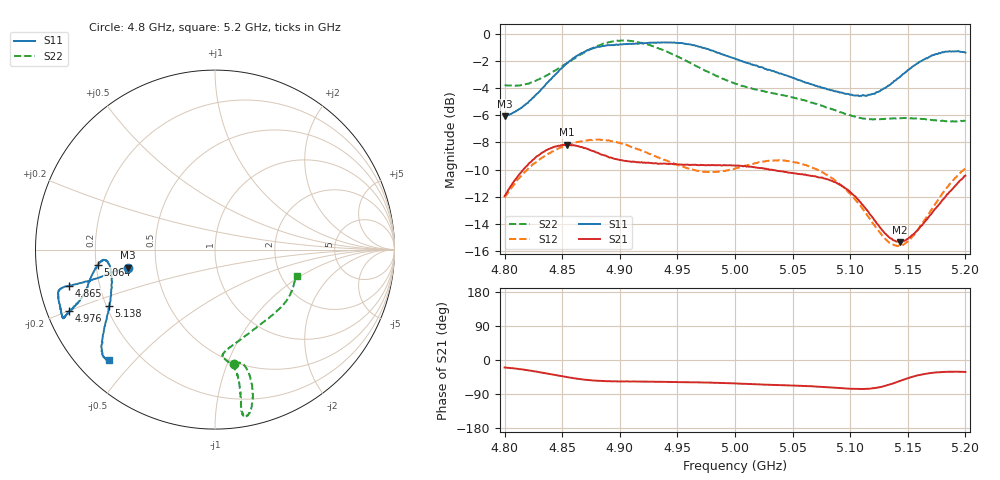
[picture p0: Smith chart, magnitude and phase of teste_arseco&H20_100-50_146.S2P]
! Network Analyzer HP8722D
! Hewlett-Packard
! Data name: Linha & Wilkinson
! Saver's name: Rodrigo Anjos
! Comments: Teste da utilização de aquisição
! continua pelo VNA HP8722D
! Time and date: 6/5/2025 13:47
!  Frequency  S11  S21  S12  S22
# HZ  S  MA R 50
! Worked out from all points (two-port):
!   401 points, 4.8 GHz to 5.2 GHz, reference 50 ohm
!   highest |S21| = -8.16 dB at 4.854 GHz (marker M1); lowest = -15.3 dB at 5.143 GHz (marker M2)
!   |S21| within 3 dB of the highest: 4.806 GHz to 5.092 GHz (286.4 MHz wide, 5.79 % of centre); 5.191379 GHz to end of sweep
!   lowest |S11| = -6.1 dB at 4.8 GHz (marker M3), VSWR 2.98, Z = 16.9 - j4.53 ohm
!   |S11| at or under -10 dB: nowhere
!   |S22| runs from -6.5 to -0.5 dB; largest |S21 - S12| = 0.62
!   S11 on the Smith chart (normalised r, x): 4.8 GHz: 0.34, -0.09; 4.865 GHz: 0.09, -0.12; 4.976 GHz: 0.07, -0.20; 5.064 GHz: 0.21, -0.06; 5.138 GHz: 0.21, -0.24; 5.2 GHz: 0.09, -0.42
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4.8e9  0.4977 -168.3  0.2528 -19.9  0.2497 -141.1  0.6474 -80.4
4.827e9  0.5946 -167.2  0.3511 -30.3  0.3361 -144.9  0.6712 -75.5
4.854e9  0.7776 -166.1  0.3908 -45.3  0.3889 -150.1  0.7793 -74.7
4.865e9  0.8401 -166.1  0.3843 -50.2  0.4006 -151.9  0.8341 -75.3
4.867e9  0.8498 -166.1  0.3833 -51.0  0.402 -152.2  0.8429 -75.5
4.882e9  0.8952 -165.5  0.3626 -55.2  0.4081 -154.7  0.9048 -77.1
4.9e9  0.9142 -162.9  0.3432 -56.5  0.3969 -156.7  0.9423 -79.3
4.934e9  0.9283 -156.7  0.3325 -57.6  0.3501 -155.8  0.8816 -80.6
4.953e9  0.9247 -156.0  0.3304 -58.2  0.3259 -152.2  0.814 -79.9
4.976e9  0.879 -157.3  0.3281 -59.5  0.3101 -145.0  0.7267 -79.7
5e9  0.8107 -159.2  0.3272 -61.9  0.3195 -137.4  0.6551 -81.3
5.038e9  0.7155 -166.2  0.3126 -66.2  0.343 -134.7  0.5989 -85.9
5.064e9  0.6567 -172.7  0.3011 -68.9  0.3258 -136.8  0.5628 -83.2
5.067e9  0.6508 -173.3  0.3002 -69.4  0.322 -136.9  0.5578 -82.6
5.1e9  0.596 -172.4  0.2613 -75.8  0.2577 -139.0  0.5017 -67.1
5.115e9  0.5933 -166.1  0.2231 -76.0  0.2142 -135.9  0.4855 -56.4
5.134e9  0.646 -154.3  0.178 -65.1  0.1702 -120.5  0.4871 -43.2
5.138e9  0.6698 -152.0  0.1737 -61.0  0.167 -115.4  0.4885 -40.7
5.143e9  0.6929 -149.3  0.1713 -55.6  0.1659 -108.8  0.4888 -38.0
5.154e9  0.7568 -144.6  0.1819 -44.2  0.1794 -94.9  0.4885 -32.2
5.173e9  0.8369 -139.1  0.225 -33.4  0.2336 -80.9  0.4809 -24.4
5.2e9  0.8527 -133.7  0.3005 -31.6  0.3194 -77.1  0.4778 -17.6
